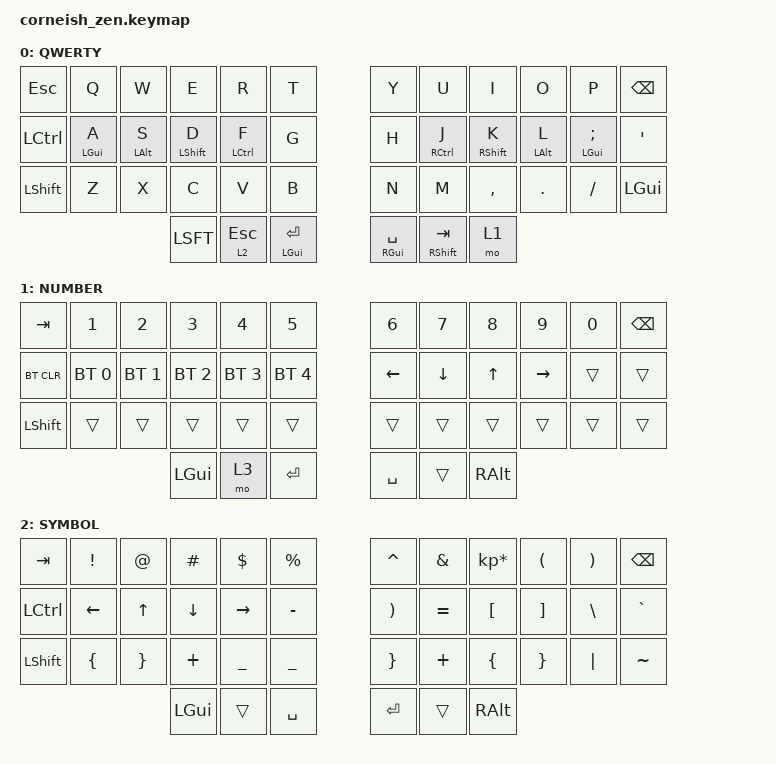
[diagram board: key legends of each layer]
/*
*
* Copyright (c) 2023 David Adams
*
*/

#include <behaviors.dtsi>
#include <dt-bindings/zmk/keys.h>
#include <dt-bindings/zmk/bt.h>


&mt {
    flavor = "hold-preferred";
    tapping-term-ms = <190>;
};

&lt {
    flavor = "balanced";
    tapping-term-ms = <190>;
};

/ {
        keymap {
                compatible = "zmk,keymap";

                default_layer {
                        label = "QWERTY";
// -----------------------------------------------------------------------------------------
// |  TAB |  Q  |  W  |  E  |  R  |  T  |   |  Y  |  U   |  I  |  O  |  P  | BKSP |
// | CTRL |  A  |  S  |  D  |  F  |  G  |   |  H  |  J   |  K  |  L  |  ;  |  '   |
// | SHFT |  Z  |  X  |  C  |  V  |  B  |   |  N  |  M   |  ,  |  .  |  /  | ESC  |
//                    | GUI | LWR | ENT |   | SPC | RSE  | ALT |
                        bindings = <
   &kp ESC  &kp Q &kp W &kp E &kp R &kp T   &kp Y &kp U  &kp I     &kp O   &kp P    &kp BSPC
   &kp LCTRL &mt LGUI A &mt LALT S &mt LSHIFT D &mt LCTL F &kp G   &kp H &mt RCTRL J  &mt RSHFT K     &mt LALT L   &mt LGUI SEMI &kp SQT
   &kp LSHFT &kp Z &kp X &kp C &kp V &kp B   &kp N &kp M  &kp COMMA &kp DOT &kp FSLH &kp LGUI
                &kp LSFT  &lt 2 ESC &mt LGUI RET   &mt RGUI  SPACE &mt RSHFT TAB &mo 1
                        >;
                };
                lower_layer {
                        label = "NUMBER";
// -----------------------------------------------------------------------------------------
// |  TAB |  1  |  2  |  3  |  4  |  5  |   |  6  |  7  |  8  |  9  |  0  | BKSP |
// | BTCLR| BT1 | BT2 | BT3 | BT4 | BT5 |   | LFT | DWN |  UP | RGT |     |      |
// | SHFT |     |     |     |     |     |   |     |     |     |     |     |      |
//                    | GUI |     | SPC |   | ENT |     | ALT |
                        bindings = <
   &kp TAB    &kp N1       &kp N2       &kp N3       &kp N4       &kp N5         &kp N6   &kp N7   &kp N8 &kp N9    &kp N0 &kp BSPC
   &bt BT_CLR &bt BT_SEL 0 &bt BT_SEL 1 &bt BT_SEL 2 &bt BT_SEL 3 &bt BT_SEL 4   &kp LEFT &kp DOWN &kp UP &kp RIGHT &trans &trans
   &kp LSHFT  &trans       &trans       &trans       &trans       &trans         &trans   &trans   &trans &trans    &trans &trans
                          	        &kp LGUI     &mo 3       &kp RET      &kp SPACE  &trans   &kp RALT
                        >;
                };

                raise_layer {
                        label = "SYMBOL";
// -----------------------------------------------------------------------------------------
// |  ~   |  !  |  @  |  #  |  $  |  %  |   |  ^  |  &  |  *  |  (  |  )  | BKSP |
// | CTRL | "|" |  \  |  =  |  -  |  (  |   |  )  |  =  |  [  |  ]  |  \  |  `   |
// | SHFT |  {  |  }  |  +  |  _  |  [  |   |  ]  |  +  |  {  |  }  | "|" |  ~   |
//                    | GUI |     | SPC |   | ENT |     | ALT |
                        bindings = <
   &kp  TAB  &kp EXCL &kp AT &kp HASH &kp DLLR &kp PRCNT   &kp CARET &kp AMPS  &kp KP_MULTIPLY &kp LPAR &kp RPAR &kp BSPC
   /* &kp LCTRL &kp PIPE   &kp BSLH &kp EQUAL   &kp MINUS   &kp LPAR      &kp RPAR &kp EQUAL &kp LBKT  &kp RBKT &kp BSLH &kp GRAVE */
   &kp LCTRL &kp LEFT &kp UP &kp DOWN &kp RIGHT   &kp MINUS      &kp RPAR &kp EQUAL &kp LBKT  &kp RBKT &kp BSLH &kp GRAVE
   &kp LSHFT &kp LBRC   &kp RBRC &kp PLUS   &kp UNDER   &kp UNDER      &kp RBRC &kp PLUS  &kp LBRC  &kp RBRC &kp PIPE &kp TILDE
                    	     &kp LGUI &trans   &kp SPACE   &kp RET   &trans    &kp RALT
                        >;
                };
        };
};

                        //label = "SYMBOL";
// -----------------------------------------------------------------------------------------
// |  ~   |  !  |  @  |  #  |  $  |  %  |   |  ^  |  &  |  *  |  (  |  )  | BKSP |
// | CTRL | "|" |  \  |  =  |  -  |  (  |   |  )  |  =  |  [  |  ]  |  \  |  `   |
// | SHFT |  {  |  }  |  +  |  _  |  [  |   |  ]  |  +  |  {  |  }  | "|" |  ~   |
//                    | GUI |     | SPC |   | ENT |     | ALT |
                        //bindings = <
   //&kp  TAB  &kp EXCL &kp AT &kp HASH &kp DLLR &kp PRCNT   &kp CARET &kp AMPS  &kp KP_MULTIPLY &kp LPAR &kp RPAR &kp BSPC
   //&kp LCTRL &kp PIPE   &kp BSLH &kp EQUAL   &kp MINUS   &LPAR      &kp RPAR &kp EQUAL &kp LBKT &kp RBKT &kp BSLH &kp GRAVE
   //&kp LSHFT &kp LBRC   &kp RBRC &kp PLUS   &kp UNDER   &kp LBKT      &kp RBKT &kp PLUS  &kp LBRC        &kp RBRC &kp PIPE &kp TILDE
                    	     //&kp LGUI &trans   &kp SPACE   &kp RET   &trans    &kp RALT
